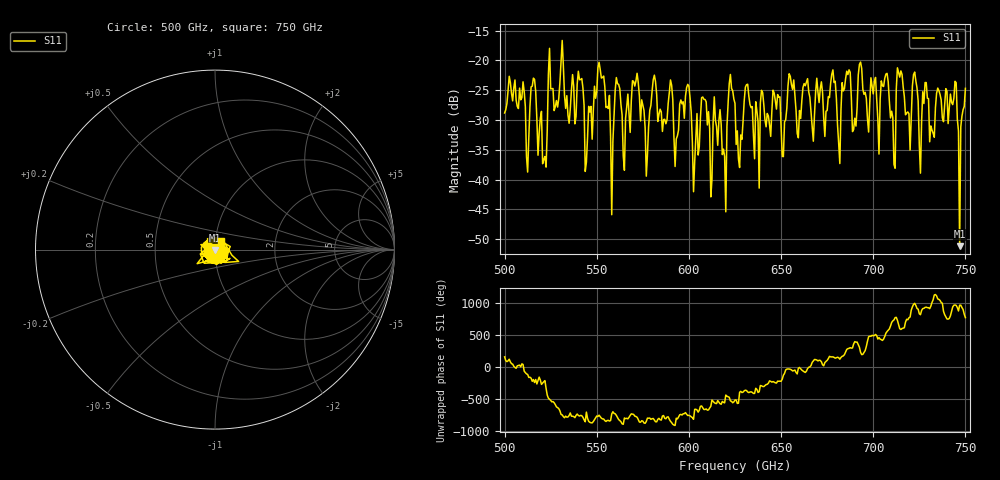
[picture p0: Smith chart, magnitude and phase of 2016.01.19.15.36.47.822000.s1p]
!Created with skrf (http://scikit-rf.org).
# GHz S RI R 50.0
!freq ReS11 ImS11
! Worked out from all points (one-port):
!   401 points, 500 GHz to 750 GHz, reference 50 ohm
!   lowest |S11| = -51.2 dB at 746.9 GHz (marker M1), VSWR 1.01, Z = 49.9 - j0.255 ohm
!   |S11| at or under -10 dB: start of sweep to end of sweep
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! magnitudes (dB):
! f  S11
! 500 GHz  -28.8
! 512.5 GHz  -38.7
! 515.6 GHz  -23.0
! 521.9 GHz  -36.1
! 525 GHz  -24.8
! 531.2 GHz  -16.6
! 541.2 GHz  -23.2
! 545 GHz  -32.9
! 551.9 GHz  -21.5
! 557.5 GHz  -32.7
! 562.5 GHz  -24.8
! 593.8 GHz  -32.7
! 599.4 GHz  -24.0
! 602.5 GHz  -42.0
! 608.1 GHz  -26.5
! 619.4 GHz  -36.1
! 622.5 GHz  -22.4
! 625 GHz  -27.2
! 651.2 GHz  -36.1
! 656.2 GHz  -24.9
! 687.5 GHz  -22.0
! 706.9 GHz  -22.3
! 710.6 GHz  -29.6
! 714.4 GHz  -22.8
! 718.8 GHz  -28.6
! 743.8 GHz  -26.3
! 746.9 GHz  -51.2
! 750 GHz  -24.7
